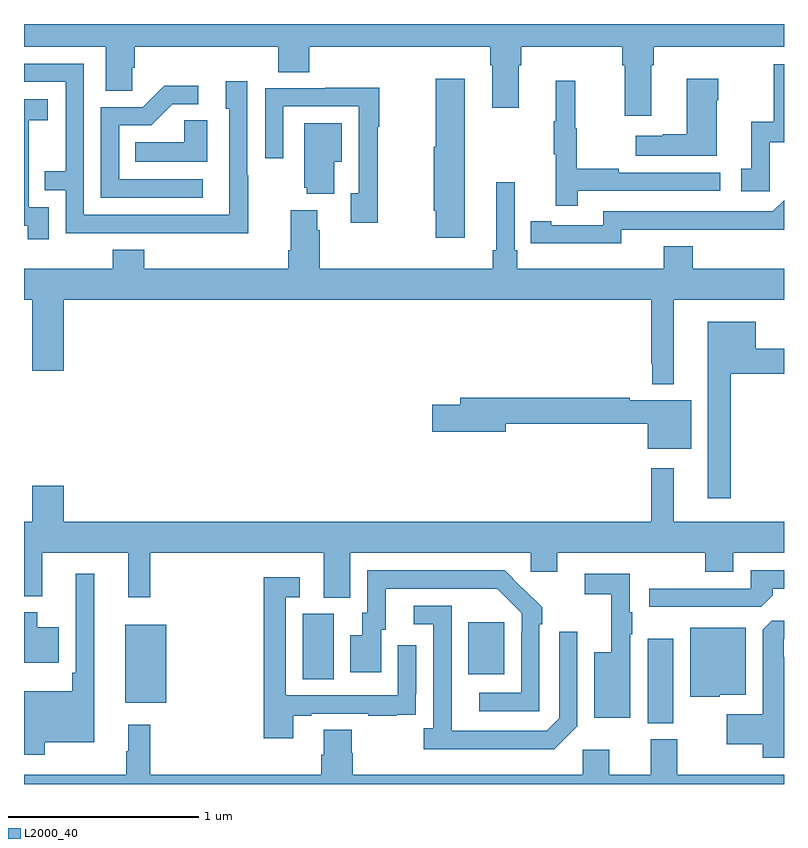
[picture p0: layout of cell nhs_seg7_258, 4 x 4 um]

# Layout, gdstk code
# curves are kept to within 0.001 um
import gdstk
lib = gdstk.Library(unit=1e-6, precision=1e-09)
def R(c, l, rs):  # rectangles x0, y0, x1, y1
    for r in rs: c.add(gdstk.rectangle(r[:2], r[2:], *l))
def P(c, l, *ps):  # polygons
    for p in ps: c.add(gdstk.Polygon(p, *l))
L2000_40 = (2000, 40)

nhs_seg7_258 = lib.new_cell('nhs_seg7_258')
R(nhs_seg7_258, L2000_40, [(132.284,1066.321,132.418,1066.765), (129.533,1066.427,129.748,1066.837), (130.466,1066.552,130.63,1066.896), (131.339,1066.577,131.527,1066.852)])
P(nhs_seg7_258, L2000_40, [(132.301,1069.784),(132.314,1069.784),(132.314,1069.88),(133,1069.88),(133,1070),(129,1070),(129,1069.88),(129.431,1069.88),(129.431,1069.648),(129.57,1069.648),(129.57,1069.771),(129.584,1069.771),(129.584,1069.88),(130.337,1069.88),(130.337,1069.747),(130.502,1069.747),(130.502,1069.88),(131.453,1069.88),(131.453,1069.784),(131.465,1069.784),(131.465,1069.56),(131.605,1069.56),(131.605,1069.784),(131.618,1069.784),(131.618,1069.88),(132.149,1069.88),(132.149,1069.784),(132.161,1069.784),(132.161,1069.518),(132.301,1069.518)],
  [(130.179,1069.205),(130.176,1069.205),(130.176,1069.699),(130.061,1069.699),(130.061,1069.554),(130.08,1069.554),(130.08,1068.996),(129.315,1068.996),(129.315,1069.791),(129,1069.791),(129,1069.695),(129.219,1069.695),(129.219,1069.226),(129.109,1069.226),(129.109,1069.125),(129.219,1069.125),(129.219,1068.9),(129.715,1068.9),(129.715,1068.899),(130.179,1068.899)],
  [(132.924,1069.377),(133,1069.377),(133,1069.788),(132.945,1069.788),(132.945,1069.486),(132.827,1069.486),(132.827,1069.239),(132.774,1069.239),(132.774,1069.119),(132.924,1069.119)],
  [(132.646,1069.598),(132.654,1069.598),(132.654,1069.711),(132.488,1069.711),(132.488,1069.421),(132.362,1069.421),(132.362,1069.411),(132.219,1069.411),(132.219,1069.307),(132.646,1069.307)],
  [(131.32,1069.711),(131.167,1069.711),(131.167,1069.353),(131.156,1069.353),(131.156,1069.017),(131.167,1069.017),(131.167,1068.876),(131.32,1068.876)],
  [(131.915,1069.122),(132.664,1069.122),(132.664,1069.218),(132.131,1069.218),(132.131,1069.238),(131.908,1069.238),(131.908,1069.452),(131.9,1069.452),(131.9,1069.702),(131.798,1069.702),(131.798,1069.489),(131.787,1069.489),(131.787,1069.315),(131.798,1069.315),(131.798,1069.044),(131.915,1069.044)],
  [(129.94,1069.182),(129.501,1069.182),(129.501,1069.467),(129.67,1069.467),(129.781,1069.578),(129.916,1069.578),(129.916,1069.676),(129.737,1069.676),(129.624,1069.563),(129.405,1069.563),(129.405,1069.086),(129.94,1069.086)],
  [(130.862,1069.459),(130.87,1069.459),(130.87,1069.664),(130.585,1069.664),(130.585,1069.662),(130.269,1069.662),(130.269,1069.293),(130.365,1069.293),(130.365,1069.566),(130.761,1069.566),(130.761,1069.11),(130.721,1069.11),(130.721,1068.954),(130.862,1068.954)],
  [(129.129,1069.035),(129.024,1069.035),(129.024,1069.265),(129.026,1069.265),(129.026,1069.493),(129.124,1069.493),(129.124,1069.603),(129,1069.603),(129,1068.937),(129.021,1068.937),(129.021,1068.867),(129.129,1068.867)],
  [(129.964,1069.493),(129.843,1069.493),(129.843,1069.378),(129.586,1069.378),(129.586,1069.274),(129.964,1069.274)],
  [(130.633,1069.274),(130.672,1069.274),(130.672,1069.477),(130.475,1069.477),(130.475,1069.137),(130.487,1069.137),(130.487,1069.106),(130.633,1069.106)],
  [(132.421,1068.548),(133,1068.548),(133,1068.712),(132.521,1068.712),(132.521,1068.829),(132.368,1068.829),(132.368,1068.712),(131.597,1068.712),(131.597,1068.808),(131.583,1068.808),(131.583,1069.168),(131.486,1069.168),(131.486,1068.808),(131.467,1068.808),(131.467,1068.712),(130.556,1068.712),(130.556,1068.914),(130.543,1068.914),(130.543,1069.021),(130.403,1069.021),(130.403,1068.808),(130.391,1068.808),(130.391,1068.712),(129.632,1068.712),(129.632,1068.811),(129.467,1068.811),(129.467,1068.712),(129,1068.712),(129,1068.548),(129.044,1068.548),(129.044,1068.174),(129.208,1068.174),(129.208,1068.548),(132.3,1068.548),(132.3,1068.211),(132.306,1068.211),(132.306,1068.104),(132.421,1068.104)],
  [(132.144,1068.918),(133,1068.917),(133,1069.072),(132.942,1069.014),(132.048,1069.014),(132.048,1068.942),(131.776,1068.942),(131.776,1068.962),(131.668,1068.962),(131.668,1068.846),(132.144,1068.845)],
  [(132.721,1068.158),(133,1068.158),(133,1068.292),(132.85,1068.292),(132.85,1068.433),(132.599,1068.433),(132.599,1067.505),(132.721,1067.505)],
  [(132.511,1068.019),(132.188,1068.019),(132.188,1068.032),(131.297,1068.032),(131.297,1067.996),(131.148,1067.996),(131.148,1067.854),(131.536,1067.854),(131.536,1067.896),(132.284,1067.896),(132.284,1067.765),(132.511,1067.765)],
  [(130.717,1067.216),(131.667,1067.216),(131.667,1067.118),(131.806,1067.118),(131.806,1067.216),(132.586,1067.216),(132.586,1067.117),(132.733,1067.117),(132.733,1067.216),(133,1067.216),(133,1067.38),(132.421,1067.38),(132.421,1067.662),(132.3,1067.662),(132.3,1067.38),(129.208,1067.38),(129.208,1067.569),(129.044,1067.569),(129.044,1067.38),(129,1067.38),(129,1066.988),(129.095,1066.988),(129.095,1067.216),(129.548,1067.216),(129.548,1066.983),(129.665,1066.983),(129.665,1067.216),(130.577,1067.216),(130.577,1066.981),(130.717,1066.981)],
  [(132.941,1066.994),(132.941,1067.028),(133,1067.028),(133,1067.124),(132.825,1067.124),(132.825,1067.028),(132.291,1067.028),(132.291,1066.932),(132.879,1066.932)],
  [(131.712,1066.841),(131.727,1066.841),(131.727,1066.929),(131.53,1067.124),(130.806,1067.124),(130.806,1066.902),(130.781,1066.902),(130.781,1066.783),(130.718,1066.783),(130.718,1066.587),(130.879,1066.587),(130.879,1066.812),(130.903,1066.812),(130.903,1067.028),(131.491,1067.028),(131.619,1066.899),(131.619,1066.799),(131.616,1066.799),(131.616,1066.479),(131.397,1066.479),(131.397,1066.383),(131.712,1066.383)],
  [(129.108,1066.22),(129.37,1066.22),(129.37,1067.107),(129.273,1067.107),(129.273,1066.585),(129.253,1066.585),(129.253,1066.489),(129,1066.489),(129,1066.155),(129.108,1066.155)],
  [(132.19,1066.789),(132.202,1066.789),(132.202,1066.903),(132.189,1066.903),(132.189,1067.106),(131.952,1067.106),(131.952,1066.998),(132.092,1066.998),(132.092,1066.693),(132.002,1066.693),(132.002,1066.349),(132.19,1066.349)],
  [(130.417,1066.359),(130.513,1066.359),(130.513,1066.371),(130.813,1066.371),(130.813,1066.359),(130.961,1066.359),(130.961,1066.365),(131.063,1066.365),(131.063,1066.474),(131.064,1066.474),(131.064,1066.729),(130.968,1066.729),(130.968,1066.467),(130.377,1066.467),(130.377,1066.983),(130.45,1066.983),(130.45,1067.089),(130.261,1067.089),(130.261,1066.242),(130.417,1066.242)],
  [(131.913,1066.305),(131.913,1066.801),(131.817,1066.801),(131.817,1066.347),(131.751,1066.281),(131.251,1066.281),(131.25,1066.938),(131.052,1066.938),(131.052,1066.842),(131.154,1066.842),(131.154,1066.294),(131.103,1066.294),(131.103,1066.184),(131.792,1066.184)],
  [(129.184,1066.825),(129.07,1066.825),(129.07,1066.903),(129,1066.903),(129,1066.637),(129.184,1066.637)],
  [(133,1066.667),(133,1066.86),(132.936,1066.86),(132.887,1066.811),(132.887,1066.366),(132.699,1066.366),(132.699,1066.208),(132.887,1066.208),(132.887,1066.139),(133,1066.139)],
  [(132.663,1066.469),(132.799,1066.469),(132.799,1066.822),(132.506,1066.822),(132.506,1066.46),(132.663,1066.46)],
  [(133,1066.048),(132.439,1066.048),(132.439,1066.236),(132.299,1066.236),(132.299,1066.048),(132.079,1066.048),(132.079,1066.18),(131.94,1066.18),(131.94,1066.048),(130.73,1066.048),(130.73,1066.161),(130.725,1066.161),(130.725,1066.286),(130.577,1066.286),(130.577,1066.154),(130.565,1066.154),(130.565,1066.048),(129.665,1066.048),(129.665,1066.312),(129.548,1066.312),(129.548,1066.172),(129.537,1066.172),(129.537,1066.048),(129,1066.048),(129,1066),(133,1066)])

lib.write_gds('nhs_seg7_258.gds')
